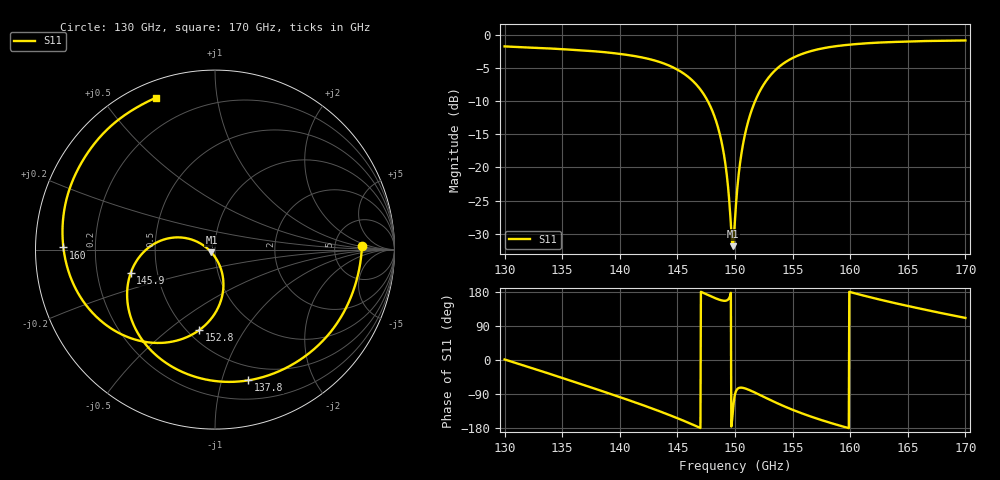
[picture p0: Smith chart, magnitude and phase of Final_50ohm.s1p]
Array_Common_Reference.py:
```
"""Grade angular and power checks at the operating point, plus re-reference input power."""
from Array_Results_Extraction import *
def main():
    models=[('Original',ORIG,ORIG),('Enlarged ground',W/'GroundControl',W/'GroundControl'),('Final array',P,R)]
    shared=[];native=[]
    for label,folder,pat in models:
        m=metrics(folder,pat);f,g,z0,z,g50=scattering(folder);k=np.argmin(abs(f-150))
        mis=1-abs(g50[k])**2;et=m['rad_eff_pct']*mis
        ffdb,phase=sphere(pat);ref=m['reference_ohm']
        common=dict(design=label,frequency_GHz=150,reflection_50_dB=20*np.log10(abs(g50[k])),Gamma50_real=g50[k].real,Gamma50_imag=g50[k].imag,Zin_real_ohm=z[k].real,Zin_imag_ohm=z[k].imag,directivity_dBi=m['Dmax_dBi'],gain_accepted_dBi=m['Dmax_dBi']+10*np.log10(m['rad_eff_pct']/100),realized_gain_50_dBi=m['realized_50_dBi'],rad_eff_pct=m['rad_eff_pct'],total_eff_50_pct=et,mismatch_eff_50_pct=100*mis)
        shared.append(common)
        fp=next(v for v in read((ORIG/'numerical_audit.json') if folder==ORIG else ((P/'numerical_audit.json') if folder==P else (folder/'numerical_audit.json')))['farfield_checks'] if v['f_GHz']==150) if folder!=W/'GroundControl' else next(v for v in audit(folder)['farfield_checks'] if v['f_GHz']==150)
        native.append(dict(design=label,reference_ohm=ref,**fp,sphere_mean=m['sphere_mean']))
    write(C/'Common50_150GHz.csv',shared);write(C/'Three_Model_Power_150GHz.csv',native)
    f,g,zref,z,g50=scattering(P)
    with (R/'Final_50ohm.s1p').open('w',encoding='ascii') as out:
        out.write('! Final physical CST array, reference plane at input launch\n# GHz S RI R 50\n')
        for x,gg in zip(f,g50):out.write(f'{x:.9g} {gg.real:.12e} {gg.imag:.12e}\n')
    absdb=np.abs
    stim=native[-1]['Pstim_W'];v=native[-1]
    data=dict(Pincident_minus_Preflected_minus_Paccepted_W=stim-v['Poutgoing_W']-v['Paccepted_W'],radiation_efficiency_from_power_percent=100*v['Prad_W']/v['Paccepted_W'],total_efficiency_from_power_percent=100*v['Prad_W']/stim,normalized_gain_identity_dB=v['gain_identity_residual_dB'])
    (R/'Independent_Power_Check.json').write_text(json.dumps(data,indent=2))
if __name__=='__main__':main()
```
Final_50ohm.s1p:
! Final physical CST array, reference plane at input launch
# GHz S RI R 50
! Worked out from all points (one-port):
!   1001 points, 130 GHz to 170 GHz, reference 50 ohm
!   lowest |S11| = -31.9 dB at 149.8 GHz (marker M1), VSWR 1.05, Z = 48 - j1.54 ohm
!   |S11| at or under -10 dB: 147.6 GHz to 151.7 GHz (4.107 GHz wide, 2.74 % of centre)
!   S11 on the Smith chart (normalised r, x): 130 GHz: 9.88, +1.26; 137.8 GHz: 0.36, -1.22; 145.9 GHz: 0.35, -0.12; 152.8 GHz: 0.57, -0.65; 160 GHz: 0.08, +0.01; 170 GHz: 0.07, +0.68
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130  0.8186 0.021
133.56  0.665 -0.4316
137.84  0.1855 -0.7285
143.36  -0.4384 -0.4503
145.88  -0.4692 -0.129
148.48  -0.1953 0.0679
149.12  -0.1034 0.0457
149.8  -0.0198 -0.016
150.92  0.0467 -0.1803
152.76  -0.0879 -0.4485
156.68  -0.6583 -0.3766
160  -0.8447 0.0118
164.24  -0.7494 0.4743
170  -0.3261 0.8474
